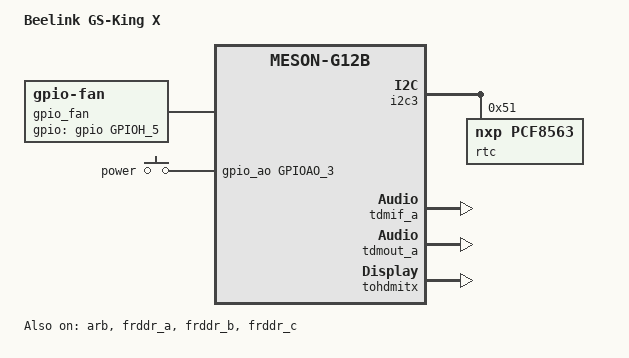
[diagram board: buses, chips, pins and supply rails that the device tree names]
// SPDX-License-Identifier: (GPL-2.0+ OR MIT)
/*
 * Copyright (c) 2019 BayLibre, SAS
 * Author: Neil Armstrong <narmstrong@baylibre.com>
 * Copyright (c) 2019 Christian Hewitt <christianshewitt@gmail.com>
 */

/dts-v1/;

#include "meson-g12b-w400.dtsi"
#include <dt-bindings/leds/common.h>
#include <dt-bindings/sound/meson-g12a-tohdmitx.h>

/ {
	compatible = "azw,gsking-x", "amlogic,s922x", "amlogic,g12b";
	model = "Beelink GS-King X";

	aliases {
		rtc0 = &rtc;
		rtc1 = &vrtc;
	};

	gpio_fan: gpio-fan {
		compatible = "gpio-fan";
		gpios = <&gpio GPIOH_5 GPIO_ACTIVE_HIGH>;
		/* Using Dummy Speed */
		gpio-fan,speed-map = <0 0>, <1 1>;
		#cooling-cells = <2>;
	};

	gpio-keys-polled {
		compatible = "gpio-keys-polled";
		poll-interval = <100>;

		power-button {
			label = "power";
			linux,code = <KEY_POWER>;
			gpios = <&gpio_ao GPIOAO_3 GPIO_ACTIVE_HIGH>;
		};
	};

	sound {
		compatible = "amlogic,axg-sound-card";
		model = "GSKING-X";
		audio-aux-devs = <&tdmout_a>;
		audio-routing = "TDMOUT_A IN 0", "FRDDR_A OUT 1",
				"TDMOUT_A IN 1", "FRDDR_B OUT 1",
				"TDMOUT_A IN 2", "FRDDR_C OUT 1",
				"TDM_A Playback", "TDMOUT_A OUT";

		assigned-clocks = <&clkc CLKID_MPLL2>,
				  <&clkc CLKID_MPLL0>,
				  <&clkc CLKID_MPLL1>;
		assigned-clock-parents = <0>, <0>, <0>;
		assigned-clock-rates = <294912000>,
				       <270950400>,
				       <393216000>;
		status = "okay";

		dai-link-0 {
			sound-dai = <&frddr_a>;
		};

		dai-link-1 {
			sound-dai = <&frddr_b>;
		};

		dai-link-2 {
			sound-dai = <&frddr_c>;
		};

		/* 8ch hdmi interface */
		dai-link-3 {
			sound-dai = <&tdmif_a>;
			dai-format = "i2s";
			dai-tdm-slot-tx-mask-0 = <1 1>;
			dai-tdm-slot-tx-mask-1 = <1 1>;
			dai-tdm-slot-tx-mask-2 = <1 1>;
			dai-tdm-slot-tx-mask-3 = <1 1>;
			mclk-fs = <256>;

			codec {
				sound-dai = <&tohdmitx TOHDMITX_I2S_IN_A>;
			};
		};

		dai-link-4 {
			sound-dai = <&tohdmitx TOHDMITX_I2S_OUT>;

			codec {
				sound-dai = <&hdmi_tx>;
			};
		};
	};
};

&arb {
	status = "okay";
};

&clkc_audio {
	status = "okay";
};

&cpu_thermal {
	trips {
		cpu_active: cpu-active {
			temperature = <70000>; /* millicelsius */
			hysteresis = <2000>; /* millicelsius */
			type = "active";
		};
	};

	cooling-maps {
		map {
			trip = <&cpu_active>;
			cooling-device = <&gpio_fan THERMAL_NO_LIMIT THERMAL_NO_LIMIT>;
		};
	};
};

&frddr_a {
	status = "okay";
};

&frddr_b {
	status = "okay";
};

&frddr_c {
	status = "okay";
};

&i2c3 {
	status = "okay";
	pinctrl-0 = <&i2c3_sda_a_pins>, <&i2c3_sck_a_pins>;
	pinctrl-names = "default";

	rtc: rtc@51 {
		compatible = "nxp,pcf8563";
		reg = <0x51>;
		wakeup-source;
	};
};

&tdmif_a {
	status = "okay";
};

&tdmout_a {
	status = "okay";
};

&tohdmitx {
	status = "okay";
};
